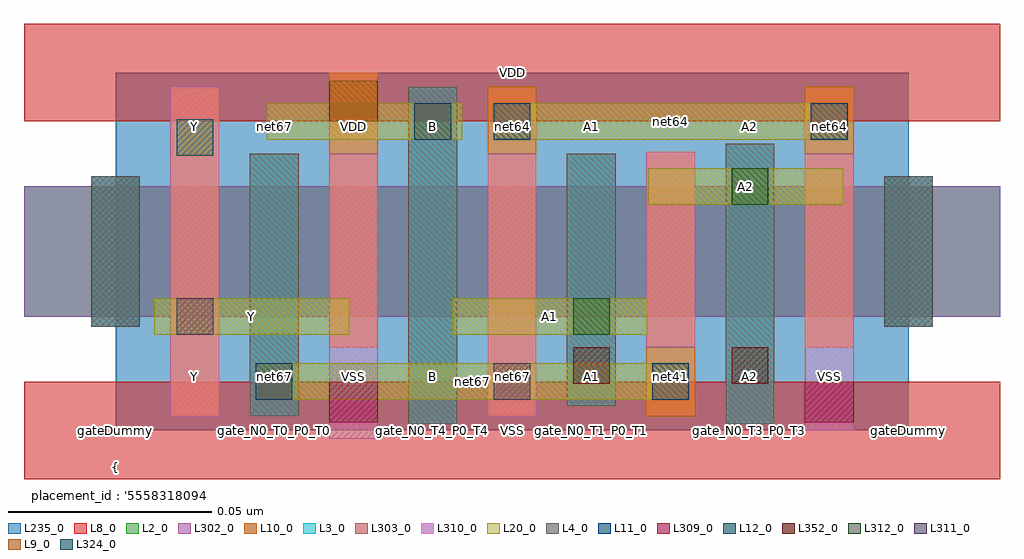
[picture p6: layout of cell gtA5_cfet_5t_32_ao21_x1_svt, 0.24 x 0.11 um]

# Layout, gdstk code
import gdstk
lib = gdstk.Library(unit=1e-6, precision=2.5e-10)
def R(c, l, rs):  # rectangles x0, y0, x1, y1
    for r in rs: c.add(gdstk.rectangle(r[:2], r[2:], *l))
L2_0 = (2, 0)
L3_0 = (3, 0)
L4_0 = (4, 0)
L8_0 = (8, 0)
L9_0 = (9, 0)
L10_0 = (10, 0)
L11_0 = (11, 0)
L12_0 = (12, 0)
L20_0 = (20, 0)
L235_0 = (235, 0)
L302_0 = (302, 0)
L303_0 = (303, 0)
L309_0 = (309, 0)
L310_0 = (310, 0)
L311_0 = (311, 0)
L312_0 = (312, 0)
L324_0 = (324, 0)
L352_0 = (352, 0)

gta5_cfet_5t_32_ao21_x1_ = lib.new_cell('gtA5_cfet_5t_32_ao21_x1_svt')
R(gta5_cfet_5t_32_ao21_x1_, L2_0, [(-0.0225,0.028,0.2175,0.06)])
R(gta5_cfet_5t_32_ao21_x1_, L3_0, [(0.072,0.0015,0.084,0.0845), (0.15,0.0015,0.162,0.0705), (0.033,0.0035,0.045,0.068), (0.111,0.006,0.123,0.068), (-0.006,0.0255,0.006,0.0625), (0.189,0.0255,0.201,0.0625)])
R(gta5_cfet_5t_32_ao21_x1_, L4_0, [(-0.006,0.0255,0.006,0.0625), (0.189,0.0255,0.201,0.0625)])
R(gta5_cfet_5t_32_ao21_x1_, L8_0, [(-0.0225,-0.012,0.2175,0.012), (-0.0225,0.076,0.2175,0.1)])
R(gta5_cfet_5t_32_ao21_x1_, L9_0, [(0.0525,0.076,0.0645,0.086)])
R(gta5_cfet_5t_32_ao21_x1_, L10_0, [(0.0135,0.0035,0.0255,0.0845), (0.0915,0.0035,0.1035,0.0845), (0.1305,0.0035,0.1425,0.0685), (0.0525,0.0205,0.0645,0.088), (0.1695,0.0205,0.1815,0.0845)])
R(gta5_cfet_5t_32_ao21_x1_, L11_0, [(0.132,0.0075,0.141,0.0165), (0.093,0.0715,0.102,0.0805), (0.171,0.0715,0.18,0.0805)])
R(gta5_cfet_5t_32_ao21_x1_, L12_0, [(0.0345,0.0075,0.0435,0.0165), (0.0735,0.0715,0.0825,0.0805)])
R(gta5_cfet_5t_32_ao21_x1_, L20_0, [(0.0345,0.0075,0.141,0.0165), (0.0095,0.0235,0.0575,0.0325), (0.0828,0.0235,0.1308,0.0325), (0.131,0.0555,0.179,0.0645), (0.0372,0.0715,0.0853,0.0805), (0.093,0.0715,0.18,0.0805)])
R(gta5_cfet_5t_32_ao21_x1_, L235_0, [(0,0,0.195,0.088)])
R(gta5_cfet_5t_32_ao21_x1_, L302_0, [(-0.0225,0.028,0.2175,0.06)])
R(gta5_cfet_5t_32_ao21_x1_, L303_0, [(0.072,0.0015,0.084,0.0845), (0.15,0.0015,0.162,0.0705), (0.033,0.0035,0.045,0.068), (0.111,0.006,0.123,0.068), (-0.006,0.0255,0.006,0.0625), (0.189,0.0255,0.201,0.0625)])
R(gta5_cfet_5t_32_ao21_x1_, L309_0, [(0.0525,0.002,0.0645,0.012), (0.1695,0.002,0.1815,0.012)])
R(gta5_cfet_5t_32_ao21_x1_, L310_0, [(0.0525,-0.002,0.0645,0.068), (0.1695,0,0.1815,0.068), (0.0135,0.0035,0.0255,0.0845), (0.0915,0.0035,0.1035,0.068), (0.1305,0.0205,0.1425,0.0685)])
R(gta5_cfet_5t_32_ao21_x1_, L311_0, [(0.093,0.0075,0.102,0.0165), (0.015,0.0235,0.024,0.0325)])
R(gta5_cfet_5t_32_ao21_x1_, L312_0, [(0.1125,0.0235,0.1215,0.0325), (0.1515,0.0555,0.1605,0.0645)])
R(gta5_cfet_5t_32_ao21_x1_, L324_0, [(0.015,0.0675,0.024,0.0765)])
R(gta5_cfet_5t_32_ao21_x1_, L352_0, [(0.1125,0.0115,0.1215,0.0205), (0.1515,0.0115,0.1605,0.0205)])
gta5_cfet_5t_32_ao21_x1_.add(gdstk.Label('net67', (0.0878,0.012), layer=100, texttype=100))
gta5_cfet_5t_32_ao21_x1_.add(gdstk.Label('net64', (0.1365,0.076), layer=100, texttype=100))
gta5_cfet_5t_32_ao21_x1_.add(gdstk.Label('gateDummy', (0,0), layer=103, texttype=103))
gta5_cfet_5t_32_ao21_x1_.add(gdstk.Label('sd_N0_T1_P0_T1', (0.0195,0), layer=103, texttype=103))
gta5_cfet_5t_32_ao21_x1_.add(gdstk.Label('gate_N0_T0_P0_T0', (0.039,0), layer=103, texttype=103))
gta5_cfet_5t_32_ao21_x1_.add(gdstk.Label('sd_N0_VSS_P0_VDD', (0.0585,0), layer=103, texttype=103))
gta5_cfet_5t_32_ao21_x1_.add(gdstk.Label('gate_N0_T4_P0_T4', (0.078,0), layer=103, texttype=103))
gta5_cfet_5t_32_ao21_x1_.add(gdstk.Label('sd_N0_T0_P0_T4', (0.0975,0), layer=103, texttype=103))
gta5_cfet_5t_32_ao21_x1_.add(gdstk.Label('gate_N0_T1_P0_T1', (0.117,0), layer=103, texttype=103))
gta5_cfet_5t_32_ao21_x1_.add(gdstk.Label('sd_N0_abut_P0_T0', (0.1365,0), layer=103, texttype=103))
gta5_cfet_5t_32_ao21_x1_.add(gdstk.Label('gate_N0_T3_P0_T3', (0.156,0), layer=103, texttype=103))
gta5_cfet_5t_32_ao21_x1_.add(gdstk.Label('sd_N0_VSS_P0_T4', (0.1755,0), layer=103, texttype=103))
gta5_cfet_5t_32_ao21_x1_.add(gdstk.Label('gateDummy', (0.195,0), layer=103, texttype=103))
gta5_cfet_5t_32_ao21_x1_.add(gdstk.Label('}', (0,-0.0963), layer=104, texttype=104))
gta5_cfet_5t_32_ao21_x1_.add(gdstk.Label('  power : None', (0,-0.0875), layer=104, texttype=104))
gta5_cfet_5t_32_ao21_x1_.add(gdstk.Label('  performance : None', (0,-0.0788), layer=104, texttype=104))
gta5_cfet_5t_32_ao21_x1_.add(gdstk.Label("  solution_hash : '658065590344111653'", (0,-0.07), layer=104, texttype=104))
gta5_cfet_5t_32_ao21_x1_.add(gdstk.Label('  number_m2 : 0', (0,-0.0612), layer=104, texttype=104))
gta5_cfet_5t_32_ao21_x1_.add(gdstk.Label('  number_m1 : 0', (0,-0.0525), layer=104, texttype=104))
gta5_cfet_5t_32_ao21_x1_.add(gdstk.Label('  number_m0cuts : 0', (0,-0.0438), layer=104, texttype=104))
gta5_cfet_5t_32_ao21_x1_.add(gdstk.Label('  number_m0 : 6', (0,-0.035), layer=104, texttype=104))
gta5_cfet_5t_32_ao21_x1_.add(gdstk.Label("  solution_number : '0000'", (0,-0.0262), layer=104, texttype=104))
gta5_cfet_5t_32_ao21_x1_.add(gdstk.Label("  placement_id : '5558318094000351371'", (0,-0.0175), layer=104, texttype=104))
gta5_cfet_5t_32_ao21_x1_.add(gdstk.Label('{', (0,-0.0088), layer=104, texttype=104))
gta5_cfet_5t_32_ao21_x1_.add(gdstk.Label('Y', (0.0195,0.0132), layer=105, texttype=105))
gta5_cfet_5t_32_ao21_x1_.add(gdstk.Label('net67', (0.039,0.0132), layer=105, texttype=105))
gta5_cfet_5t_32_ao21_x1_.add(gdstk.Label('VSS', (0.0585,0.0132), layer=105, texttype=105))
gta5_cfet_5t_32_ao21_x1_.add(gdstk.Label('B', (0.078,0.0132), layer=105, texttype=105))
gta5_cfet_5t_32_ao21_x1_.add(gdstk.Label('net67', (0.0975,0.0132), layer=105, texttype=105))
gta5_cfet_5t_32_ao21_x1_.add(gdstk.Label('A1', (0.117,0.0132), layer=105, texttype=105))
gta5_cfet_5t_32_ao21_x1_.add(gdstk.Label('net41', (0.1365,0.0132), layer=105, texttype=105))
gta5_cfet_5t_32_ao21_x1_.add(gdstk.Label('A2', (0.156,0.0132), layer=105, texttype=105))
gta5_cfet_5t_32_ao21_x1_.add(gdstk.Label('VSS', (0.1755,0.0132), layer=105, texttype=105))
gta5_cfet_5t_32_ao21_x1_.add(gdstk.Label('Y', (0.0195,0.0747), layer=105, texttype=105))
gta5_cfet_5t_32_ao21_x1_.add(gdstk.Label('net67', (0.039,0.0747), layer=105, texttype=105))
gta5_cfet_5t_32_ao21_x1_.add(gdstk.Label('VDD', (0.0585,0.0747), layer=105, texttype=105))
gta5_cfet_5t_32_ao21_x1_.add(gdstk.Label('B', (0.078,0.0747), layer=105, texttype=105))
gta5_cfet_5t_32_ao21_x1_.add(gdstk.Label('net64', (0.0975,0.0747), layer=105, texttype=105))
gta5_cfet_5t_32_ao21_x1_.add(gdstk.Label('A1', (0.117,0.0747), layer=105, texttype=105))
gta5_cfet_5t_32_ao21_x1_.add(gdstk.Label('net67', (0.1365,0.0747), layer=105, texttype=105))
gta5_cfet_5t_32_ao21_x1_.add(gdstk.Label('A2', (0.156,0.0747), layer=105, texttype=105))
gta5_cfet_5t_32_ao21_x1_.add(gdstk.Label('net64', (0.1755,0.0747), layer=105, texttype=105))
gta5_cfet_5t_32_ao21_x1_.add(gdstk.Label('VSS', (0.0975,0), layer=8, texttype=0))
gta5_cfet_5t_32_ao21_x1_.add(gdstk.Label('VDD', (0.0975,0.088), layer=8, texttype=0))
gta5_cfet_5t_32_ao21_x1_.add(gdstk.Label('Y', (0.0335,0.028), layer=20, texttype=251))
gta5_cfet_5t_32_ao21_x1_.add(gdstk.Label('A1', (0.1067,0.028), layer=20, texttype=251))
gta5_cfet_5t_32_ao21_x1_.add(gdstk.Label('A2', (0.155,0.06), layer=20, texttype=251))
gta5_cfet_5t_32_ao21_x1_.add(gdstk.Label('B', (0.0612,0.076), layer=20, texttype=251))
gta5_cfet_5t_32_ao21_x1_.add(gdstk.Label('gtA5_cfet_5t_32_ao21_x1_rvt_0', (0,0), layer=235, texttype=0))

lib.write_gds('gtA5_cfet_5t_32_ao21_x1_svt.gds')
